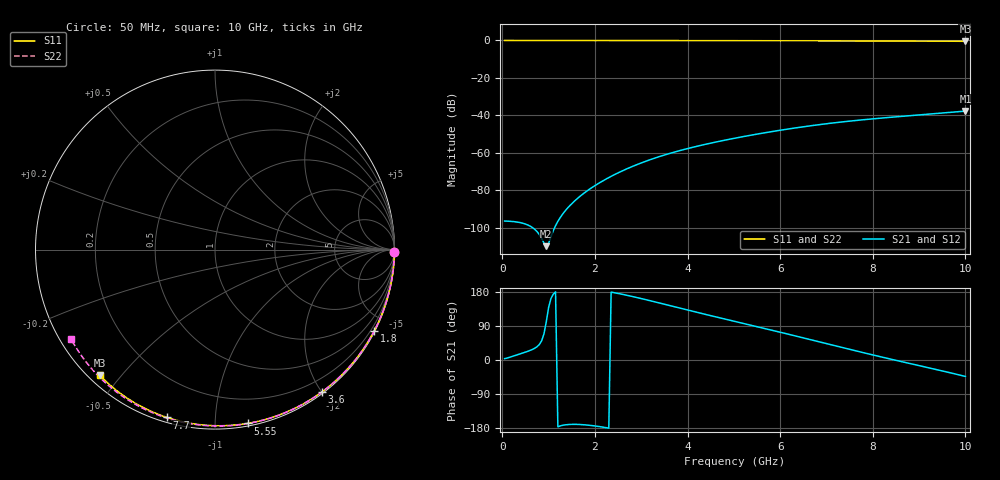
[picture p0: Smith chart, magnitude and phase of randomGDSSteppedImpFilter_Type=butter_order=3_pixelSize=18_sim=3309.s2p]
! freq	dB(S11)	phase(S11)	dB(S12)	phase(S12)
!  dB(S21)	phase(S21)	dB(S22)	phase(S22)
!S-par simulation data
#  GHz  S  DB  R 50
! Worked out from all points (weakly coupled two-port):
!   200 points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, 50 MHz to 10 GHz, reference 50 ohm
!   highest |S21| = -37.71 dB at 10 GHz (marker M1); lowest = -109.8 dB at 950 MHz (marker M2)
!   lowest |S11| = -0.4 dB at 10 GHz (marker M3), VSWR 38.79, Z = 1.54 - j22 ohm
!   |S11| at or under -10 dB: nowhere
!   |S22| runs from -0.5 to 0.0 dB; largest |S21 - S12| = 0
!   S11 on the Smith chart (normalised r, x): 50 MHz: open; 1.8 GHz: 0.04, -4.14; 3.6 GHz: 0.02, -2.00; 5.55 GHz: 0.02, -1.21; 7.7 GHz: 0.02, -0.75; 10 GHz: 0.03, -0.44
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0.05  -0.00 -0.8  -96.42 3.6  -96.42 3.6  -0.00 -0.9
0.5  -0.01 -7.6  -98.02 20.8  -98.02 20.8  -0.01 -8.5
0.95  -0.02 -14.5  -109.82 100.9  -109.82 100.9  -0.02 -16.1
1.75  -0.03 -26.4  -81.80 -170.8  -81.80 -170.8  -0.04 -29.5
1.8  -0.03 -27.2  -80.87 -171.3  -80.87 -171.3  -0.04 -30.3
1.85  -0.04 -27.9  -79.98 -171.9  -79.98 -171.9  -0.04 -31.1
2.05  -0.04 -30.9  -76.72 -174.9  -76.72 -174.9  -0.04 -34.4
2.2  -0.04 -33.1  -74.55 -177.6  -74.55 -177.6  -0.05 -36.9
2.4  -0.05 -36.0  -71.91 178.0  -71.91 178.0  -0.05 -40.1
2.6  -0.05 -38.9  -69.52 173.1  -69.52 173.1  -0.06 -43.3
3  -0.06 -44.7  -65.39 162.2  -65.39 162.2  -0.06 -49.7
3.4  -0.07 -50.3  -61.93 150.2  -61.93 150.2  -0.07 -56.0
3.6  -0.07 -53.1  -60.42 144.1  -60.42 144.1  -0.08 -59.1
4.25  -0.09 -62.1  -56.21 124.4  -56.21 124.4  -0.10 -69.0
5.05  -0.11 -72.8  -52.04 101.0  -52.04 101.0  -0.12 -80.9
5.55  -0.13 -79.4  -49.79 86.5  -49.79 86.5  -0.14 -88.1
6.1  -0.15 -86.4  -47.55 70.4  -47.55 70.4  -0.17 -95.9
6.7  -0.18 -93.8  -45.41 52.4  -45.41 52.4  -0.20 -104.2
7.7  -0.24 -105.9  -42.56 22.2  -42.56 22.2  -0.27 -117.7
8.35  -0.29 -113.6  -41.09 3.3  -41.09 3.3  -0.33 -126.4
9.2  -0.36 -123.4  -39.35 -20.4  -39.35 -20.4  -0.41 -137.6
10  -0.45 -132.5  -37.71 -43.4  -37.71 -43.4  -0.50 -148.3
